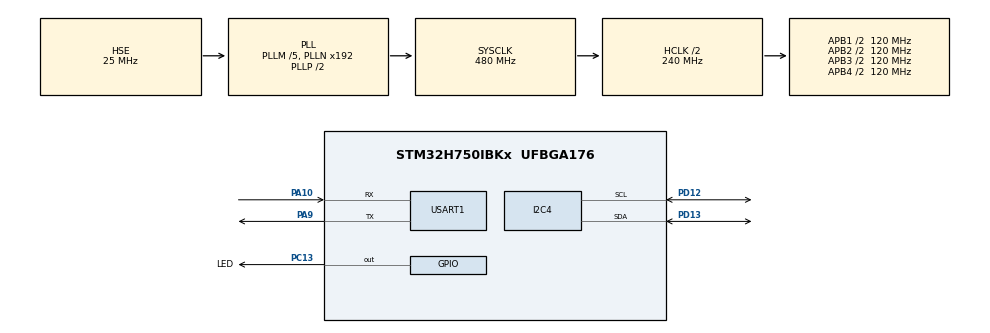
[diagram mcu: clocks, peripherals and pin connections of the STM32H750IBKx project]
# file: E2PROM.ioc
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I2C4.Timing=0x307075B1
Mcu.Family=STM32H7
Mcu.Name=STM32H750IBKx
Mcu.Package=UFBGA176
NVIC.PriorityGroup=NVIC_PRIORITYGROUP_4
PA10.Mode=Asynchronous
PA10.Signal=USART1_RX
PA13\ (JTMS/SWDIO).Mode=Serial_Wire
PA13\ (JTMS/SWDIO).Signal=DEBUG_JTMS-SWDIO
PA14\ (JTCK/SWCLK).Mode=Serial_Wire
PA14\ (JTCK/SWCLK).Signal=DEBUG_JTCK-SWCLK
PA9.Mode=Asynchronous
PA9.Signal=USART1_TX
PC13.GPIO_Label=LED
PC13.Signal=GPIO_Output
PC14-OSC32_IN\ (OSC32_IN).Mode=LSE-External-Oscillator
PC14-OSC32_IN\ (OSC32_IN).Signal=RCC_OSC32_IN
PC15-OSC32_OUT\ (OSC32_OUT).Mode=LSE-External-Oscillator
PC15-OSC32_OUT\ (OSC32_OUT).Signal=RCC_OSC32_OUT
PD12.Mode=I2C
PD12.Signal=I2C4_SCL
PD13.Mode=I2C
PD13.Signal=I2C4_SDA
PH0-OSC_IN\ (PH0).Mode=HSE-External-Oscillator
PH0-OSC_IN\ (PH0).Signal=RCC_OSC_IN
PH1-OSC_OUT\ (PH1).Mode=HSE-External-Oscillator
PH1-OSC_OUT\ (PH1).Signal=RCC_OSC_OUT
ProjectManager.HeapSize=0x400
ProjectManager.StackSize=0x800
ProjectManager.TargetToolchain=MDK-ARM V5.32
RCC.ADCFreq_Value=50390625
RCC.APB1Freq_Value=120000000
RCC.APB2Freq_Value=120000000
RCC.APB3Freq_Value=120000000
RCC.APB4Freq_Value=120000000
RCC.CortexFreq_Value=480000000
RCC.D1PPRE=RCC_APB3_DIV2
RCC.D2PPRE1=RCC_APB1_DIV2
RCC.D2PPRE2=RCC_APB2_DIV2
RCC.D3PPRE=RCC_APB4_DIV2
RCC.DIVM1=5
RCC.DIVN1=192
RCC.DIVQ1=24
RCC.HCLKFreq_Value=240000000
RCC.HPRE=RCC_HCLK_DIV2
RCC.PLLSourceVirtual=RCC_PLLSOURCE_HSE
RCC.PWR_Regulator_Voltage_Scale=PWR_REGULATOR_VOLTAGE_SCALE0
RCC.ProductRev=revV
RCC.SYSCLKFreq_VALUE=480000000
RCC.SYSCLKSource=RCC_SYSCLKSOURCE_PLLCLK
RCC.USBFreq_Value=40000000
USART1.VirtualMode-Asynchronous=VM_ASYNC
board=custom

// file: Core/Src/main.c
/* USER CODE BEGIN Header */
/**
  ******************************************************************************
  * @file           : main.c
  * @brief          : Main program body
  ******************************************************************************
  * @attention
  *
  * Copyright (c) 2024 STMicroelectronics.
  * All rights reserved.
  *
  * This software is licensed under terms that can be found in the LICENSE file
  * in the root directory of this software component.
  * If no LICENSE file comes with this software, it is provided AS-IS.
  *
  ******************************************************************************
  */
/* USER CODE END Header */
#include "main.h"
#include "i2c.h"
#include "usart.h"
#include "gpio.h"

/* USER CODE BEGIN Includes */
#include "bsp_i2c_ee.h"
#include "stdio.h"
/* USER CODE END Includes */

void SystemClock_Config(void);

/* USER CODE BEGIN 0 */
#ifdef __GNUC__
#define PUTCHAR_PROTOTYPE int __io_putchar(int ch)
#else
#define PUTCHAR_PROTOTYPE int fputc(int ch, FILE *f)
#endif
PUTCHAR_PROTOTYPE
{
    HAL_UART_Transmit(&huart1 , (uint8_t *)&ch, 1, 0xFFFF);
    return ch;
}

#define  DATA_Size			256
#define  EEP_Firstpage      0x00
uint8_t I2c_Buf_Write[DATA_Size];
uint8_t I2c_Buf_Read[DATA_Size];

uint8_t I2C_Test(void);

/* USER CODE END 0 */

int main(void)
{

  /* MCU Configuration--------------------------------------------------------*/

  /* Reset of all peripherals, Initializes the Flash interface and the Systick. */
  HAL_Init();

  /* Configure the system clock */
  SystemClock_Config();

  /* Initialize all configured peripherals */
  MX_GPIO_Init();
  MX_USART1_UART_Init();
  MX_I2C4_Init();
  /* USER CODE BEGIN 2 */
	if(I2C_Test()==1)
		printf("eeprom test ok\r\n");
  /* USER CODE END 2 */

  /* Infinite loop */
  /* USER CODE BEGIN WHILE */
  while (1)
  {
		HAL_GPIO_TogglePin(LED_GPIO_Port,LED_Pin);
		HAL_Delay(100);
    /* USER CODE END WHILE */

  }
}

void SystemClock_Config(void)
{
  RCC_OscInitTypeDef RCC_OscInitStruct = {0};
  RCC_ClkInitTypeDef RCC_ClkInitStruct = {0};

  /** Supply configuration update enable
  */
  HAL_PWREx_ConfigSupply(PWR_LDO_SUPPLY);

  /** Configure the main internal regulator output voltage
  */
  __HAL_PWR_VOLTAGESCALING_CONFIG(PWR_REGULATOR_VOLTAGE_SCALE1);

  while(!__HAL_PWR_GET_FLAG(PWR_FLAG_VOSRDY)) {}

  __HAL_RCC_SYSCFG_CLK_ENABLE();
  __HAL_PWR_VOLTAGESCALING_CONFIG(PWR_REGULATOR_VOLTAGE_SCALE0);

  while(!__HAL_PWR_GET_FLAG(PWR_FLAG_VOSRDY)) {}

  /** Initializes the RCC Oscillators according to the specified parameters
  * in the RCC_OscInitTypeDef structure.
  */
  RCC_OscInitStruct.OscillatorType = RCC_OSCILLATORTYPE_HSE;
  RCC_OscInitStruct.HSEState = RCC_HSE_ON;
  RCC_OscInitStruct.PLL.PLLState = RCC_PLL_ON;
  RCC_OscInitStruct.PLL.PLLSource = RCC_PLLSOURCE_HSE;
  RCC_OscInitStruct.PLL.PLLM = 5;
  RCC_OscInitStruct.PLL.PLLN = 192;
  RCC_OscInitStruct.PLL.PLLP = 2;
  RCC_OscInitStruct.PLL.PLLQ = 24;
  RCC_OscInitStruct.PLL.PLLR = 2;
  RCC_OscInitStruct.PLL.PLLRGE = RCC_PLL1VCIRANGE_2;
  RCC_OscInitStruct.PLL.PLLVCOSEL = RCC_PLL1VCOWIDE;
  RCC_OscInitStruct.PLL.PLLFRACN = 0;
  if (HAL_RCC_OscConfig(&RCC_OscInitStruct) != HAL_OK)
  {
    Error_Handler();
  }

  /** Initializes the CPU, AHB and APB buses clocks
  */
  RCC_ClkInitStruct.ClockType = RCC_CLOCKTYPE_HCLK|RCC_CLOCKTYPE_SYSCLK
                              |RCC_CLOCKTYPE_PCLK1|RCC_CLOCKTYPE_PCLK2
                              |RCC_CLOCKTYPE_D3PCLK1|RCC_CLOCKTYPE_D1PCLK1;
  RCC_ClkInitStruct.SYSCLKSource = RCC_SYSCLKSOURCE_PLLCLK;
  RCC_ClkInitStruct.SYSCLKDivider = RCC_SYSCLK_DIV1;
  RCC_ClkInitStruct.AHBCLKDivider = RCC_HCLK_DIV2;
  RCC_ClkInitStruct.APB3CLKDivider = RCC_APB3_DIV2;
  RCC_ClkInitStruct.APB1CLKDivider = RCC_APB1_DIV2;
  RCC_ClkInitStruct.APB2CLKDivider = RCC_APB2_DIV2;
  RCC_ClkInitStruct.APB4CLKDivider = RCC_APB4_DIV2;

  if (HAL_RCC_ClockConfig(&RCC_ClkInitStruct, FLASH_LATENCY_4) != HAL_OK)
  {
    Error_Handler();
  }
}

/* USER CODE BEGIN 4 */
uint8_t I2C_Test(void)
{
	uint16_t i;

	printf("写入的数据:\r\n");

	for ( i=0; i<DATA_Size; i++ ) //填充缓冲
	{
		I2c_Buf_Write[i] =i;
		printf("0x%02X ", I2c_Buf_Write[i]);
		if(i%16 == 15)
		printf("\n\r");
	}

	//将I2c_Buf_Write中顺序递增的数据写入EERPOM中
	I2C_EE_BufferWrite( I2c_Buf_Write, EEP_Firstpage, DATA_Size);

	printf("读出的数据:\r\n");
	//将EEPROM读出数据顺序保持到I2c_Buf_Read中
	I2C_EE_BufferRead(I2c_Buf_Read, EEP_Firstpage, DATA_Size);
	//将I2c_Buf_Read中的数据通过串口打印
	for (i=0; i<DATA_Size; i++)
	{
		if(I2c_Buf_Read[i] != I2c_Buf_Write[i])
		{
			printf("0x%02X ", I2c_Buf_Read[i]);
			printf("错误:I2C EEPROM写入与读出的数据不一致");
			return 0;
		}
		printf("0x%02X ", I2c_Buf_Read[i]);
		if(i%16 == 15)
		printf("\n\r");

	}
	printf("I2C(AT24C02)读写测试成功");
	return 1;
}
/* USER CODE END 4 */

void Error_Handler(void)
{
  __disable_irq();
  while (1)
  {
  }
}
